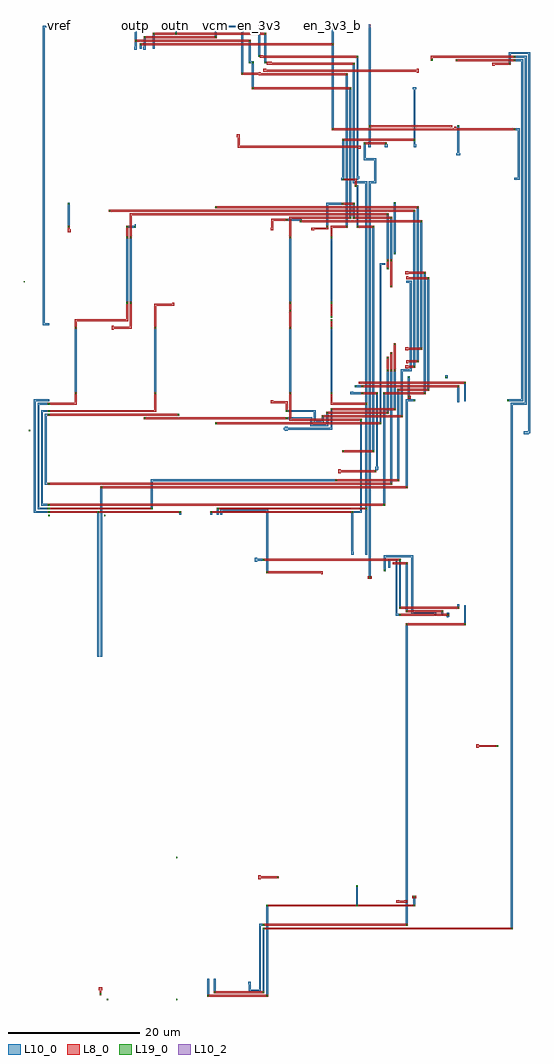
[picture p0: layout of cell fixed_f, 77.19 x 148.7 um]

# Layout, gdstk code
import gdstk
lib = gdstk.Library(unit=1e-6, precision=1e-09)
def R(c, l, rs):  # rectangles x0, y0, x1, y1
    for r in rs: c.add(gdstk.rectangle(r[:2], r[2:], *l))
def A(c, l, x, y, w, h, nx, ny, dx, dy):  # array of equal rectangles
    R(c, l, [(x+i*dx, y+j*dy, x+i*dx+w, y+j*dy+h) for i in range(nx) for j in range(ny)])
def P(c, l, *ps):  # polygons
    for p in ps: c.add(gdstk.Polygon(p, *l))
L8_0 = (8, 0)
L10_0 = (10, 0)
L10_2 = (10, 2)
L19_0 = (19, 0)

fixed_f = lib.new_cell('fixed_f')
R(fixed_f, L8_0, [(28.66,31.79,37.94,32.08), (29.66,32.33,37.4,32.62), (37.11,42.05,75.2,42.34), (37.11,42.59,59.225,42.88), (37.65,45.56,60.35,45.85), (59.915,46.81,60.495,47.2), (58.935,88.395,68.09,88.685), (57.9,89.84,65.48,90.13), (58.935,90.38,64.615,90.67), (57.9,90.92,67.08,91.21), (53.165,95.51,53.745,95.83), (56.945,97.67,59.225,97.96), (37.11,98.21,58.19,98.5), (4.405,105.5,24.68,105.79), (29.16,105.5,50.9,105.79), (4.405,106.04,20.39,106.33), (30.16,106.04,53.06,106.33), (4.405,106.58,55.76,106.87), (12.41,109.28,59.225,109.57), (4.405,109.82,56.84,110.11), (48.18,110.36,57.92,110.65), (49.26,114.785,54.14,115.075), (29.87,119,55.22,119.29), (19.02,119.81,40.91,120.1), (46.125,120.08,58.46,120.37), (4.405,120.35,24.44,120.64), (46.83,120.62,56.3,120.91), (47.46,121.16,57.38,121.45), (59.25,122.905,59.685,123.34), (52.17,123.59,54.68,123.88), (55.47,123.59,61.97,123.88), (57.63,124.13,62.51,124.42), (52.17,124.67,67.08,124.96), (51.76,125.21,68.09,125.5), (56.01,127.1,56.3,129.28), (56.55,127.1,56.84,129.985), (57.09,127.1,57.38,131.345), (41.16,133.58,41.45,137.65), (47.46,133.58,47.75,135.025), (47.46,135.215,47.75,137.65), (56.55,139.895,56.84,144.13), (56.01,142.615,56.3,144.13), (16.32,147.35,16.61,149.26), (51.42,148.97,54.14,149.26), (42.78,149.78,61.43,150.07), (50.88,150.32,56.84,150.61), (13.695,151.4,60.35,151.69), (29.87,151.94,60.89,152.23), (49.165,152.48,51.17,152.77), (52.5,161.66,56.03,161.95), (49.26,162.2,60.395,162.49), (53.31,164.305,66.02,164.595), (35.49,170.055,50.63,170.345), (66.54,174.35,75.595,174.64), (18.375,176.78,47.93,177.07), (17.67,177.32,35.295,177.61), (19.02,177.86,30.11,178.15), (20.385,178.4,37.67,178.69)])
P(fixed_f, L8_0, [(12.27,32.06),(12.27,32.805),(12.125,32.805),(12.125,33.24),(12.705,33.24),(12.705,32.805),(12.56,32.805),(12.56,32.06)],
  [(57.485,46.1),(57.485,46.535),(57.92,46.535),(57.92,46.39),(58.71,46.39),(58.71,46.535),(59.145,46.535),(59.145,46.1)],
  [(36.44,49.71),(36.44,50.29),(36.86,50.29),(36.86,50.145),(39.56,50.145),(39.56,49.855),(36.86,49.855),(36.86,49.71)],
  [(69.635,69.71),(69.635,70.29),(70.07,70.29),(70.07,70.145),(73.04,70.145),(73.04,69.855),(70.07,69.855),(70.07,69.71)],
  [(46.02,96.175),(46.02,96.32),(37.65,96.32),(37.65,96.61),(46.31,96.61),(46.31,96.175)],
  [(48.64,111.565),(48.64,112.145),(49.01,112.145),(49.01,112),(54.41,112),(54.41,111.71),(49.01,111.71),(49.01,111.565)],
  [(40.62,120.89),(40.62,122.24),(38.315,122.24),(38.315,122.675),(38.75,122.675),(38.75,122.53),(40.91,122.53),(40.91,120.89)],
  [(4.405,121.97),(4.405,122.26),(8.49,122.26),(8.49,123.88),(8.78,123.88),(8.78,121.97)],
  [(4.405,120.89),(4.405,121.18),(20.64,121.18),(20.64,123.88),(20.93,123.88),(20.93,120.89)],
  [(41.16,119.54),(41.16,123.88),(41.45,123.88),(41.45,119.83),(52.25,119.83),(52.25,119.54)],
  [(47.46,121.97),(47.46,123.88),(47.75,123.88),(47.75,122.26),(53.06,122.26),(53.06,121.97)],
  [(58.835,127.57),(58.835,128.03),(59.27,128.03),(59.27,127.945),(60.35,127.945),(60.35,127.655),(59.27,127.655),(59.27,127.57)],
  [(58.98,128.305),(58.98,128.74),(60.89,128.74),(60.89,128.45),(59.27,128.45),(59.27,128.305)],
  [(58.835,130.29),(58.835,130.75),(59.27,130.75),(59.27,130.665),(61.43,130.665),(61.43,130.375),(59.27,130.375),(59.27,130.29)],
  [(20.64,133.58),(20.64,137.38),(23.34,137.38),(23.34,137.525),(23.68,137.525),(23.68,137.09),(20.93,137.09),(20.93,133.58)],
  [(8.49,133.58),(8.49,135.025),(16.32,135.025),(16.32,137.65),(16.61,137.65),(16.61,134.735),(8.78,134.735),(8.78,133.58)],
  [(14.14,133.435),(14.14,134.015),(14.45,134.015),(14.45,133.87),(16.86,133.87),(16.86,137.65),(17.15,137.65),(17.15,133.58),(14.45,133.58),(14.45,133.435)],
  [(58.98,141.14),(58.98,141.575),(59.27,141.575),(59.27,141.43),(62.51,141.43),(62.51,141.14)],
  [(58.835,141.85),(58.835,142.31),(59.27,142.31),(59.27,142.225),(61.97,142.225),(61.97,141.935),(59.27,141.935),(59.27,141.85)],
  [(7.41,148.285),(7.41,149.26),(7.7,149.26),(7.7,148.72),(7.845,148.72),(7.845,148.285)],
  [(44.525,148.555),(44.525,148.99),(46.83,148.99),(46.83,149.26),(47.12,149.26),(47.12,148.7),(44.96,148.7),(44.96,148.555)],
  [(47.46,147.35),(47.46,149.26),(50.09,149.26),(50.09,148.97),(47.75,148.97),(47.75,147.35)],
  [(38.315,148.555),(38.315,148.99),(38.46,148.99),(38.46,150.34),(40.91,150.34),(40.91,150.05),(38.75,150.05),(38.75,148.555)],
  [(41.16,147.35),(41.16,150.61),(50.63,150.61),(50.63,150.32),(41.45,150.32),(41.45,147.35)],
  [(16.86,147.35),(16.86,151.15),(56.3,151.15),(56.3,150.86),(17.15,150.86),(17.15,147.35)],
  [(51.15,155.18),(51.15,156.165),(49.26,156.165),(49.26,156.455),(51.44,156.455),(51.44,155.18)],
  [(51.595,161.025),(51.595,161.17),(33.33,161.17),(33.33,162.74),(33.185,162.74),(33.185,163.175),(33.62,163.175),(33.62,161.46),(52.03,161.46),(52.03,161.025)],
  [(47.64,163.82),(47.64,164.11),(66.325,164.11),(66.325,164.38),(66.615,164.38),(66.615,164.11),(75.595,164.11),(75.595,163.82)],
  [(36.52,172.19),(36.52,172.305),(33.87,172.305),(33.87,172.595),(36.52,172.595),(36.52,172.625),(36.86,172.625),(36.86,172.48),(50.09,172.48),(50.09,172.19)],
  [(60.6,172.585),(60.6,172.73),(37.235,172.73),(37.235,173.165),(37.67,173.165),(37.67,173.02),(60.6,173.02),(60.6,173.165),(60.92,173.165),(60.92,172.585)],
  [(72.065,173.665),(72.065,174.1),(74.93,174.1),(74.93,173.81),(72.5,173.81),(72.5,173.665)],
  [(37.775,173.81),(37.775,174.245),(38.48,174.245),(38.48,174.1),(51.17,174.1),(51.17,173.81)],
  [(62.76,174.375),(62.76,175.18),(75.595,175.18),(75.595,174.89),(63.05,174.89),(63.05,174.375)],
  [(36.695,174.83),(36.695,175.27),(37.13,175.27),(37.13,175.18),(51.71,175.18),(51.71,174.89),(37.13,174.89),(37.13,174.83)])
R(fixed_f, L10_0, [(28.66,31.79,28.95,34.51), (37.65,31.79,37.94,45.85), (29.66,32.33,29.95,34.51), (37.11,32.33,37.4,42.34), (58.935,42.59,59.225,88.685), (51.35,45.56,51.64,48.82), (60.06,45.56,60.35,47.2), (11.91,83.63,12.2,105.79), (12.41,83.63,12.7,109.57), (67.8,88.395,68.09,91.48), (64.325,89.965,64.615,90.67), (58.935,90.38,59.225,97.96), (57.9,90.92,58.19,98.5), (66.79,90.92,67.08,91.625), (24.39,105.23,24.68,105.79), (29.16,105.23,29.45,105.79), (30.16,105.23,30.45,106.33), (55.47,106.58,55.76,123.88), (56.55,109.82,56.84,127.39), (57.63,110.36,57.92,124.42), (53.85,114.785,54.14,149.26), (56.01,120.62,56.3,127.39), (57.09,121.16,57.38,127.39), (66.79,122.38,67.08,124.96), (67.8,122.525,68.09,125.5), (59.25,123.05,59.54,126.31), (8.49,123.59,8.78,133.87), (20.64,123.59,20.93,133.87), (41.16,123.59,41.45,133.87), (47.46,123.59,47.75,133.87), (61.68,123.59,61.97,142.225), (62.22,124.13,62.51,141.43), (51.15,124.67,52.46,124.96), (64.92,126.02,65.355,126.455), (60.06,127.655,60.35,151.69), (60.6,128.45,60.89,152.23), (61.14,130.375,61.43,150.07), (41.16,136.19,41.45,136.45), (16.32,137.36,16.61,147.64), (16.86,137.36,17.15,147.64), (41.16,137.36,41.45,147.64), (47.46,137.36,47.75,147.64), (56.01,143.84,56.3,151.15), (56.55,143.84,56.84,150.61), (57.09,144.92,57.38,152.865), (7.41,148.97,7.7,152.77), (49.8,148.97,50.09,172.48), (50.34,150.32,50.63,170.345), (50.88,150.32,51.17,152.77), (47.64,163.82,47.93,180), (37.38,174.005,37.67,178.69), (36.455,174.975,36.745,180), (18.375,176.24,18.665,177.07), (20.385,176.24,20.675,178.69), (23.77,178.4,24.06,180)])
P(fixed_f, L10_0, [(35.005,32.6),(35.005,33.68),(34.93,33.68),(34.93,34.115),(35.295,34.115),(35.295,32.89),(36.57,32.89),(36.57,42.88),(37.4,42.88),(37.4,42.59),(36.86,42.59),(36.86,32.6)],
  [(65.19,89.59),(65.19,90.275),(65.58,90.275),(65.58,89.695),(65.38,89.695),(65.38,89.59)],
  [(57.36,89.84),(57.36,98.21),(56.57,98.21),(56.57,97.13),(56.28,97.13),(56.28,98.5),(57.65,98.5),(57.65,90.13),(58.19,90.13),(58.19,89.84)],
  [(35.93,98.065),(35.93,98.645),(36.32,98.645),(36.32,98.5),(37.4,98.5),(37.4,98.21),(36.32,98.21),(36.32,98.065)],
  [(63.3,89.965),(63.3,90.11),(59.79,90.11),(59.79,98.75),(55.845,98.75),(55.845,96.59),(55.555,96.59),(55.555,99.04),(60.08,99.04),(60.08,90.4),(63.59,90.4),(63.59,89.965)],
  [(37.65,96.32),(37.65,105.77),(30.95,105.77),(30.95,105.23),(30.66,105.23),(30.66,106.06),(37.94,106.06),(37.94,96.32)],
  [(20.1,106.04),(20.1,110.65),(48.47,110.65),(48.47,110.36),(20.39,110.36),(20.39,106.04)],
  [(50.61,99.145),(50.61,105.79),(51.96,105.79),(51.96,119.83),(52.25,119.83),(52.25,105.5),(50.9,105.5),(50.9,99.58),(50.995,99.58),(50.995,99.145)],
  [(3.9,109.82),(3.9,120.64),(4.695,120.64),(4.695,120.35),(4.19,120.35),(4.19,110.11),(4.695,110.11),(4.695,109.82)],
  [(44.4,118.73),(44.4,119.81),(40.62,119.81),(40.62,120.1),(44.69,120.1),(44.69,119.02),(46.83,119.02),(46.83,120.91),(47.12,120.91),(47.12,118.73)],
  [(3.36,106.58),(3.36,121.18),(4.695,121.18),(4.695,120.89),(3.65,120.89),(3.65,106.87),(4.695,106.87),(4.695,106.58)],
  [(44.94,119.27),(44.94,120.89),(40.62,120.89),(40.62,121.18),(45.23,121.18),(45.23,119.56),(46.125,119.56),(46.125,120.37),(46.415,120.37),(46.415,119.27)],
  [(40.475,118.045),(40.475,118.19),(40.35,118.19),(40.35,118.48),(40.475,118.48),(40.475,118.625),(40.91,118.625),(40.91,118.48),(47.46,118.48),(47.46,121.45),(47.75,121.45),(47.75,118.19),(40.91,118.19),(40.91,118.045)],
  [(2.82,106.04),(2.82,122.26),(4.695,122.26),(4.695,121.97),(3.11,121.97),(3.11,106.33),(4.695,106.33),(4.695,106.04)],
  [(2.28,105.5),(2.28,122.8),(4.605,122.8),(4.605,122.51),(2.57,122.51),(2.57,105.79),(4.695,105.79),(4.695,105.5)],
  [(58.935,109.28),(58.935,122.8),(60.35,122.8),(60.35,122.51),(59.225,122.51),(59.225,109.28)],
  [(54.39,111.98),(54.39,112.105),(54.245,112.105),(54.245,112.54),(54.39,112.54),(54.39,123.88),(54.68,123.88),(54.68,112.54),(54.7,112.54),(54.7,112.105),(54.68,112.105),(54.68,111.98)],
  [(50.465,123.59),(50.465,123.98),(50.9,123.98),(50.9,123.88),(52.46,123.88),(52.46,123.59)],
  [(58.17,120.08),(58.17,127.39),(59.52,127.39),(59.52,140.575),(58.98,140.575),(58.98,140.865),(59.81,140.865),(59.81,127.1),(58.46,127.1),(58.46,120.08)],
  [(54.93,119),(54.93,143.585),(55.76,143.585),(55.76,143.295),(55.22,143.295),(55.22,119)],
  [(16.32,148.97),(16.32,149.26),(17.595,149.26),(17.595,149.5),(17.795,149.5),(17.795,149.14),(17.775,149.14),(17.775,148.97)],
  [(42.78,149.78),(42.78,150.05),(40.62,150.05),(40.62,150.34),(43.07,150.34),(43.07,149.78)],
  [(46.83,148.97),(46.83,152.77),(49.455,152.77),(49.455,152.48),(47.12,152.48),(47.12,148.97)],
  [(51.42,148.97),(51.42,155.18),(51.15,155.18),(51.15,155.47),(51.71,155.47),(51.71,148.97)],
  [(53.31,95.51),(53.31,156.01),(54.12,156.01),(54.12,159.23),(52.5,159.23),(52.5,161.95),(52.79,161.95),(52.79,159.52),(54.41,159.52),(54.41,155.72),(53.6,155.72),(53.6,95.51)],
  [(55.74,161.245),(55.74,161.95),(56.03,161.95),(56.03,161.68),(56.165,161.68),(56.165,161.245)],
  [(49.115,156.16),(49.115,156.565),(49.26,156.565),(49.26,162.49),(49.55,162.49),(49.55,156.565),(49.56,156.565),(49.56,156.16)],
  [(75.45,156.275),(75.45,156.565),(75.99,156.565),(75.99,163.82),(75.305,163.82),(75.305,164.11),(76.28,164.11),(76.28,156.275)],
  [(66.645,159.995),(66.645,160.33),(66.79,160.33),(66.79,164.595),(67.08,164.595),(67.08,160.33),(67.225,160.33),(67.225,159.995)],
  [(60.105,161.245),(60.105,170.03),(60,170.03),(60,170.35),(60.54,170.35),(60.54,170.03),(60.395,170.03),(60.395,161.68),(60.54,161.68),(60.54,161.245)],
  [(52.77,99.145),(52.77,155.72),(50.88,155.72),(50.88,174.1),(51.17,174.1),(51.17,156.01),(53.06,156.01),(53.06,99.145)],
  [(74.37,122.51),(74.37,122.8),(76.53,122.8),(76.53,174.35),(75.305,174.35),(75.305,174.64),(76.82,174.64),(76.82,122.51)],
  [(51.42,156.275),(51.42,175.18),(51.71,175.18),(51.71,156.82),(51.855,156.82),(51.855,156.385),(51.71,156.385),(51.71,156.275)],
  [(74.91,42.05),(74.91,122.26),(77.07,122.26),(77.07,174.89),(75.305,174.89),(75.305,175.18),(77.36,175.18),(77.36,121.97),(75.2,121.97),(75.2,42.05)],
  [(76.925,117.505),(76.925,117.94),(77.61,117.94),(77.61,175.43),(74.93,175.43),(74.93,173.81),(74.64,173.81),(74.64,175.72),(77.9,175.72),(77.9,117.65),(77.63,117.65),(77.63,117.505)],
  [(35.49,170.055),(35.49,174.005),(35.005,174.005),(35.005,177.61),(35.295,177.61),(35.295,174.295),(35.78,174.295),(35.78,170.055)],
  [(18.935,176.095),(18.935,176.53),(19.02,176.53),(19.02,178.15),(19.31,178.15),(19.31,176.095)],
  [(3.63,134.12),(3.63,179.77),(6.06,179.77),(6.06,180),(6.35,180),(6.35,179.48),(3.92,179.48),(3.92,134.41),(4.605,134.41),(4.605,134.12)],
  [(17.525,176.095),(17.525,176.53),(17.67,176.53),(17.67,180),(17.96,180),(17.96,176.095)],
  [(33.87,172.305),(33.87,179.48),(30.11,179.48),(30.11,177.86),(29.82,177.86),(29.82,180),(30.11,180),(30.11,179.77),(34.16,179.77),(34.16,172.305)],
  [(53.215,161.245),(53.215,161.68),(53.31,161.68),(53.31,180),(53.6,180),(53.6,161.245)])
R(fixed_f, L10_2, [(6.06,179.48,6.35,180), (17.67,179.48,17.96,180), (23.77,179.48,24.06,180), (29.82,179.48,30.11,180), (36.455,179.48,36.745,180), (47.64,179.48,47.93,180), (53.31,179.48,53.6,180)])
A(fixed_f, L19_0, 4.455, 105.01, 0.19, 0.19, 1, 4, 0, 0.54)
A(fixed_f, L19_0, 56.06, 127.15, 0.19, 0.19, 3, 1, 0.54, 0)
R(fixed_f, L19_0, [(13.4,31.3,13.59,31.49), (23.94,31.3,24.13,31.49), (28.71,31.84,28.9,32.03), (37.7,31.84,37.89,32.03), (12.32,32.11,12.51,32.3), (29.71,32.38,29.9,32.57), (37.16,32.38,37.35,32.57), (37.16,42.1,37.35,42.29), (74.96,42.1,75.15,42.29), (37.16,42.64,37.35,42.83), (58.985,42.64,59.175,42.83), (37.7,45.61,37.89,45.8), (51.4,45.61,51.59,45.8), (60.11,45.61,60.3,45.8), (60.11,46.96,60.3,47.15), (51.4,48.58,51.59,48.77), (39.32,49.905,39.51,50.095), (23.94,52.9,24.13,53.09), (72.8,69.905,72.99,70.095), (58.985,88.445,59.175,88.635), (67.85,88.445,68.04,88.635), (57.95,89.89,58.14,90.08), (65.24,89.89,65.43,90.08), (58.985,90.43,59.175,90.62), (64.375,90.43,64.565,90.62), (57.95,90.97,58.14,91.16), (66.84,90.97,67.03,91.16), (53.36,95.56,53.55,95.75), (37.7,96.37,37.89,96.56), (55.605,96.64,55.795,96.83), (58.985,97.72,59.175,97.91), (37.16,98.26,37.35,98.45), (57.95,98.26,58.14,98.45), (12.96,105.01,13.15,105.2), (11.96,105.55,12.15,105.74), (24.44,105.55,24.63,105.74), (29.21,105.55,29.4,105.74), (50.66,105.55,50.85,105.74), (20.15,106.09,20.34,106.28), (30.21,106.09,30.4,106.28), (52.82,106.09,53.01,106.28), (55.52,106.63,55.71,106.82), (12.46,109.33,12.65,109.52), (58.985,109.33,59.175,109.52), (4.455,109.87,4.645,110.06), (56.6,109.87,56.79,110.06), (48.23,110.41,48.42,110.6), (57.68,110.41,57.87,110.6), (54.17,111.76,54.36,111.95), (49.31,114.835,49.5,115.025), (53.9,114.835,54.09,115.025), (1.52,117.97,1.71,118.16), (29.92,119.05,30.11,119.24), (54.98,119.05,55.17,119.24), (52.01,119.59,52.2,119.78), (19.07,119.86,19.26,120.05), (40.67,119.86,40.86,120.05), (46.175,120.13,46.365,120.32), (58.22,120.13,58.41,120.32), (4.455,120.4,4.645,120.59), (24.2,120.4,24.39,120.59), (46.88,120.67,47.07,120.86), (56.06,120.67,56.25,120.86), (4.455,120.94,4.645,121.13), (40.67,120.94,40.86,121.13), (47.51,121.21,47.7,121.4), (57.14,121.21,57.33,121.4), (4.455,122.02,4.645,122.21), (52.82,122.02,53.01,122.21), (60.11,122.56,60.3,122.75), (74.42,122.56,74.61,122.75), (59.3,123.1,59.49,123.29), (8.54,123.64,8.73,123.83), (20.69,123.64,20.88,123.83), (41.21,123.64,41.4,123.83), (47.51,123.64,47.7,123.83), (52.22,123.64,52.41,123.83), (54.44,123.64,54.63,123.83), (55.52,123.64,55.71,123.83), (61.73,123.64,61.92,123.83), (57.68,124.18,57.87,124.37), (62.27,124.18,62.46,124.37), (51.2,124.72,51.39,124.91), (52.22,124.72,52.41,124.91), (66.84,124.72,67.03,124.91), (67.85,125.26,68.04,125.45), (59.3,126.07,59.49,126.26), (64.97,126.07,65.16,126.26), (60.11,127.705,60.3,127.895), (60.65,128.5,60.84,128.69), (56.06,129.04,56.25,129.23), (56.6,129.745,56.79,129.935), (61.19,130.425,61.38,130.615), (57.14,131.105,57.33,131.295), (8.54,133.63,8.73,133.82), (20.69,133.63,20.88,133.82), (41.21,133.63,41.4,133.82), (47.51,133.63,47.7,133.82), (47.51,134.785,47.7,134.975), (47.51,135.265,47.7,135.455), (41.21,136.225,41.4,136.415), (16.37,137.41,16.56,137.6), (16.91,137.41,17.1,137.6), (41.21,137.41,41.4,137.6), (47.51,137.41,47.7,137.6), (56.6,139.945,56.79,140.135), (0.71,140.625,0.9,140.815), (62.27,141.19,62.46,141.38), (61.73,141.985,61.92,142.175), (56.06,142.665,56.25,142.855), (56.06,143.89,56.25,144.08), (56.6,143.89,56.79,144.08), (57.14,144.97,57.33,145.16), (16.37,147.4,16.56,147.59), (16.91,147.4,17.1,147.59), (41.21,147.4,41.4,147.59), (47.51,147.4,47.7,147.59), (7.46,149.02,7.65,149.21), (16.37,149.02,16.56,149.21), (17.535,149.02,17.725,149.21), (46.88,149.02,47.07,149.21), (49.85,149.02,50.04,149.21), (51.47,149.02,51.66,149.21), (53.9,149.02,54.09,149.21), (42.83,149.83,43.02,150.02), (61.19,149.83,61.38,150.02), (40.67,150.1,40.86,150.29), (50.39,150.37,50.58,150.56), (50.93,150.37,51.12,150.56), (56.6,150.37,56.79,150.56), (56.06,150.91,56.25,151.1), (13.745,151.45,13.935,151.64), (60.11,151.45,60.3,151.64), (29.92,151.99,30.11,152.18), (60.65,151.99,60.84,152.18), (7.46,152.53,7.65,152.72), (49.215,152.53,49.405,152.72), (50.93,152.53,51.12,152.72), (57.14,152.625,57.33,152.815), (51.2,155.23,51.39,155.42), (49.31,156.215,49.5,156.405), (52.55,161.71,52.74,161.9), (55.79,161.71,55.98,161.9), (49.31,162.25,49.5,162.44), (60.155,162.25,60.345,162.44), (47.69,163.87,47.88,164.06), (75.355,163.87,75.545,164.06), (53.36,164.355,53.55,164.545), (66.84,164.355,67.03,164.545), (35.54,170.105,35.73,170.295), (50.39,170.105,50.58,170.295), (49.85,172.24,50.04,172.43), (33.92,172.355,34.11,172.545), (50.93,173.86,51.12,174.05), (74.69,173.86,74.88,174.05), (35.055,174.055,35.245,174.245), (35.54,174.055,35.73,174.245), (37.43,174.055,37.62,174.245), (66.59,174.4,66.78,174.59), (75.355,174.4,75.545,174.59), (62.81,174.425,63,174.615), (51.47,174.94,51.66,175.13), (75.355,174.94,75.545,175.13), (36.505,175.025,36.695,175.215), (18.425,176.83,18.615,177.02), (47.69,176.83,47.88,177.02), (17.72,177.37,17.91,177.56), (35.055,177.37,35.245,177.56), (19.07,177.91,19.26,178.1), (29.87,177.91,30.06,178.1), (20.435,178.45,20.625,178.64), (23.82,178.45,24.01,178.64), (37.43,178.45,37.62,178.64)])
fixed_f.add(gdstk.Label('vref', (6.205,179.74), layer=10, texttype=25))
fixed_f.add(gdstk.Label('outp', (17.815,179.74), layer=10, texttype=25))
fixed_f.add(gdstk.Label('outn', (23.915,179.74), layer=10, texttype=25))
fixed_f.add(gdstk.Label('vcm', (29.965,179.74), layer=10, texttype=25))
fixed_f.add(gdstk.Label('en_3v3', (36.6,179.74), layer=10, texttype=25))
fixed_f.add(gdstk.Label('en_3v3_b', (47.785,179.74), layer=10, texttype=25))
fixed_f.add(gdstk.Label('iref', (53.455,179.74), layer=10, texttype=25))

lib.write_gds('fixed_f.gds')
